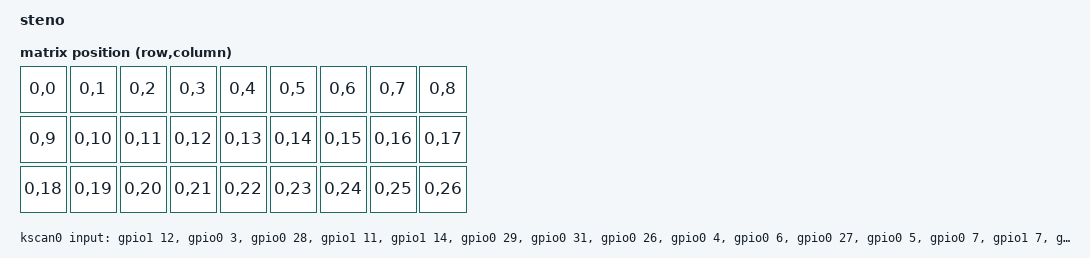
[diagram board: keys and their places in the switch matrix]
/*
 * steno - 27-key steno board, nRF52840, no bootloader.
 * SPDX-License-Identifier: MIT
 */

/dts-v1/;
#include <nordic/nrf52840_qiaa.dtsi>
#include <dt-bindings/zmk/matrix_transform.h>
#include "steno-pinctrl.dtsi"

/ {
	model = "steno";
	compatible = "stenolab,steno";

	chosen {
		zephyr,code-partition = &code_partition;
		zephyr,sram = &sram0;
		zephyr,flash = &flash0;
		zmk,battery = &fuelgauge;
		zmk,kscan = &kscan0;
		zmk,matrix-transform = &default_transform;
		zephyr,display = &oled;
	};

	default_transform: keymap_transform_0 {
		compatible = "zmk,matrix-transform";
		columns = <27>;
		rows = <1>;
		map = <
RC(0,0)  RC(0,1)  RC(0,2)  RC(0,3)  RC(0,4)  RC(0,5)  RC(0,6)  RC(0,7)  RC(0,8)
RC(0,9)  RC(0,10) RC(0,11) RC(0,12) RC(0,13) RC(0,14) RC(0,15) RC(0,16) RC(0,17)
RC(0,18) RC(0,19) RC(0,20) RC(0,21) RC(0,22) RC(0,23) RC(0,24) RC(0,25) RC(0,26)
		>;
	};

	kscan0: kscan {
		compatible = "zmk,kscan-gpio-direct";
		wakeup-source;
		input-gpios
		= <&gpio1 12 (GPIO_ACTIVE_LOW | GPIO_PULL_UP)>
		, <&gpio0  3 (GPIO_ACTIVE_LOW | GPIO_PULL_UP)>
		, <&gpio0 28 (GPIO_ACTIVE_LOW | GPIO_PULL_UP)>
		, <&gpio1 11 (GPIO_ACTIVE_LOW | GPIO_PULL_UP)>
		, <&gpio1 14 (GPIO_ACTIVE_LOW | GPIO_PULL_UP)>
		, <&gpio0 29 (GPIO_ACTIVE_LOW | GPIO_PULL_UP)>
		, <&gpio0 31 (GPIO_ACTIVE_LOW | GPIO_PULL_UP)>
		, <&gpio0 26 (GPIO_ACTIVE_LOW | GPIO_PULL_UP)>
		, <&gpio0  4 (GPIO_ACTIVE_LOW | GPIO_PULL_UP)>
		, <&gpio0  6 (GPIO_ACTIVE_LOW | GPIO_PULL_UP)>
		, <&gpio0 27 (GPIO_ACTIVE_LOW | GPIO_PULL_UP)>
		, <&gpio0  5 (GPIO_ACTIVE_LOW | GPIO_PULL_UP)>
		, <&gpio0  7 (GPIO_ACTIVE_LOW | GPIO_PULL_UP)>
		, <&gpio1  7 (GPIO_ACTIVE_LOW | GPIO_PULL_UP)>
		, <&gpio0  2 (GPIO_ACTIVE_LOW | GPIO_PULL_UP)>
		, <&gpio1 15 (GPIO_ACTIVE_LOW | GPIO_PULL_UP)>
		, <&gpio1 13 (GPIO_ACTIVE_LOW | GPIO_PULL_UP)>
		, <&gpio0  8 (GPIO_ACTIVE_LOW | GPIO_PULL_UP)>
		, <&gpio1  9 (GPIO_ACTIVE_LOW | GPIO_PULL_UP)>
		, <&gpio1  8 (GPIO_ACTIVE_LOW | GPIO_PULL_UP)>
		, <&gpio0 14 (GPIO_ACTIVE_LOW | GPIO_PULL_UP)>
		, <&gpio0 16 (GPIO_ACTIVE_LOW | GPIO_PULL_UP)>
		, <&gpio0 24 (GPIO_ACTIVE_LOW | GPIO_PULL_UP)>
		, <&gpio0 20 (GPIO_ACTIVE_LOW | GPIO_PULL_UP)>
		, <&gpio0 17 (GPIO_ACTIVE_LOW | GPIO_PULL_UP)>
		, <&gpio0 15 (GPIO_ACTIVE_LOW | GPIO_PULL_UP)>
		, <&gpio0 13 (GPIO_ACTIVE_LOW | GPIO_PULL_UP)>
		;
	};

	leds {
		compatible = "gpio-leds";
		blue_led: led_0 {
			gpios = <&gpio1 10 GPIO_ACTIVE_HIGH>;
		};
	};
};

&i2c0 {
	status = "okay";
	compatible = "nordic,nrf-twi";
	clock-frequency = <400000>;
	pinctrl-0 = <&i2c0_default>;
	pinctrl-1 = <&i2c0_sleep>;
	pinctrl-names = "default", "sleep";

	fuelgauge: bq274xx@55 {
		compatible = "ti,bq274xx";
		reg = <0x55>;
		design-voltage = <3700>;
		design-capacity = <400>;
		taper-current = <2>;
		terminate-voltage = <2750>;
		int-gpios = <&gpio1 1 (GPIO_ACTIVE_LOW | GPIO_PULL_UP)>;
	};

	oled: ssd1306@3c {
		compatible = "solomon,ssd1306fb";
		reg = <0x3c>;
		width = <128>;
		height = <64>;
		segment-offset = <0>;
		page-offset = <0>;
		display-offset = <0>;
		multiplex-ratio = <63>;
		prechargep = <0x22>;
		com-invdir;
	};
};

&adc    { status = "okay"; };
&gpiote { status = "okay"; };
&gpio0  { status = "okay"; };
&gpio1  { status = "okay"; };

zephyr_udc0: &usbd { status = "okay"; };

&flash0 {
	partitions {
		compatible = "fixed-partitions";
		#address-cells = <1>;
		#size-cells = <1>;

		/*
		 * No bootloader: the application owns the vector table at 0x0
		 * and is flashed over SWD. Sizes come from measured builds -
		 * see docs/MEMORY_MAP.md.
		 */
		code_partition: partition@0 {
			reg = <0x00000000 0x00044000>;   /* 272K: 194K used */
		};

		dict_partition: partition@44000 {
			reg = <0x00044000 0x000b4000>;   /* 720K: 694K image */
		};

		storage_partition: partition@f8000 {
			reg = <0x000f8000 0x00008000>;   /* 32K: 8 NVS sectors */
		};
	};
};
